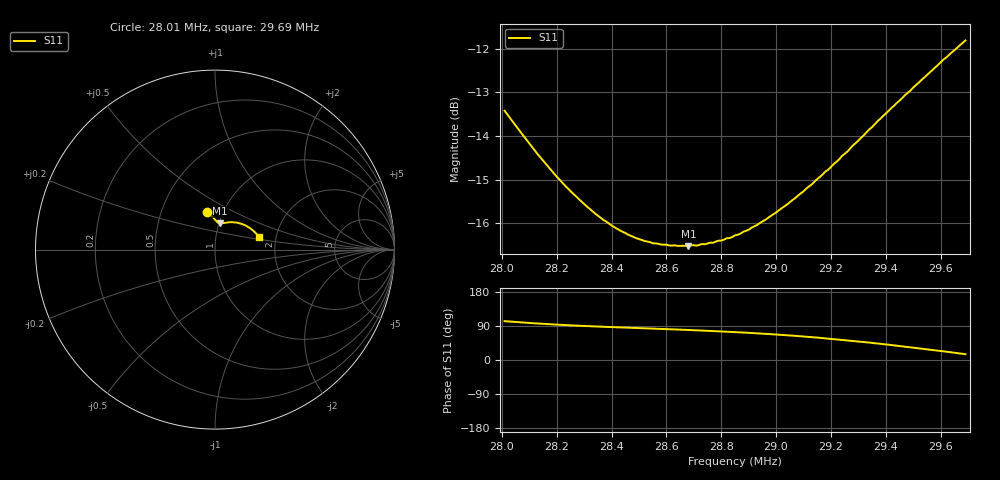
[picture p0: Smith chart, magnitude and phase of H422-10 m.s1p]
# HZ S RI R 50
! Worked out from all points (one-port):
!   169 points, 28.01 MHz to 29.69 MHz, reference 50 ohm
!   lowest |S11| = -16.5 dB at 28.68 MHz (marker M1), VSWR 1.35, Z = 50.6 + j15.2 ohm
!   |S11| at or under -10 dB: start of sweep to end of sweep
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2.801e7  -0.0463 0.2081
2.810004e7  -0.0262 0.1939
2.816006e7  -0.0161 0.1846
2.822008e7  -0.00782 0.1763
2.828011e7  -0.00133 0.169
2.834013e7  0.00418 0.1626
2.843017e7  0.0108 0.1552
2.849019e7  0.0147 0.1517
2.855022e7  0.0186 0.1492
2.864025e7  0.0249 0.1472
2.868027e7  0.0279 0.1466
2.87703e7  0.0356 0.1463
2.883033e7  0.0412 0.1467
2.885034e7  0.0436 0.1472
2.887034e7  0.0454 0.1474
2.893037e7  0.0526 0.1487
2.90004e7  0.0631 0.1503
2.906042e7  0.0732 0.1518
2.913045e7  0.0873 0.1524
2.918047e7  0.0982 0.1529
2.92705e7  0.1212 0.1502
2.937054e7  0.1504 0.1429
2.942056e7  0.1658 0.1364
2.948059e7  0.1844 0.1263
2.954061e7  0.2032 0.1134
2.958063e7  0.2155 0.1033
2.964065e7  0.2335 0.0854
2.969067e7  0.2474 0.0682
